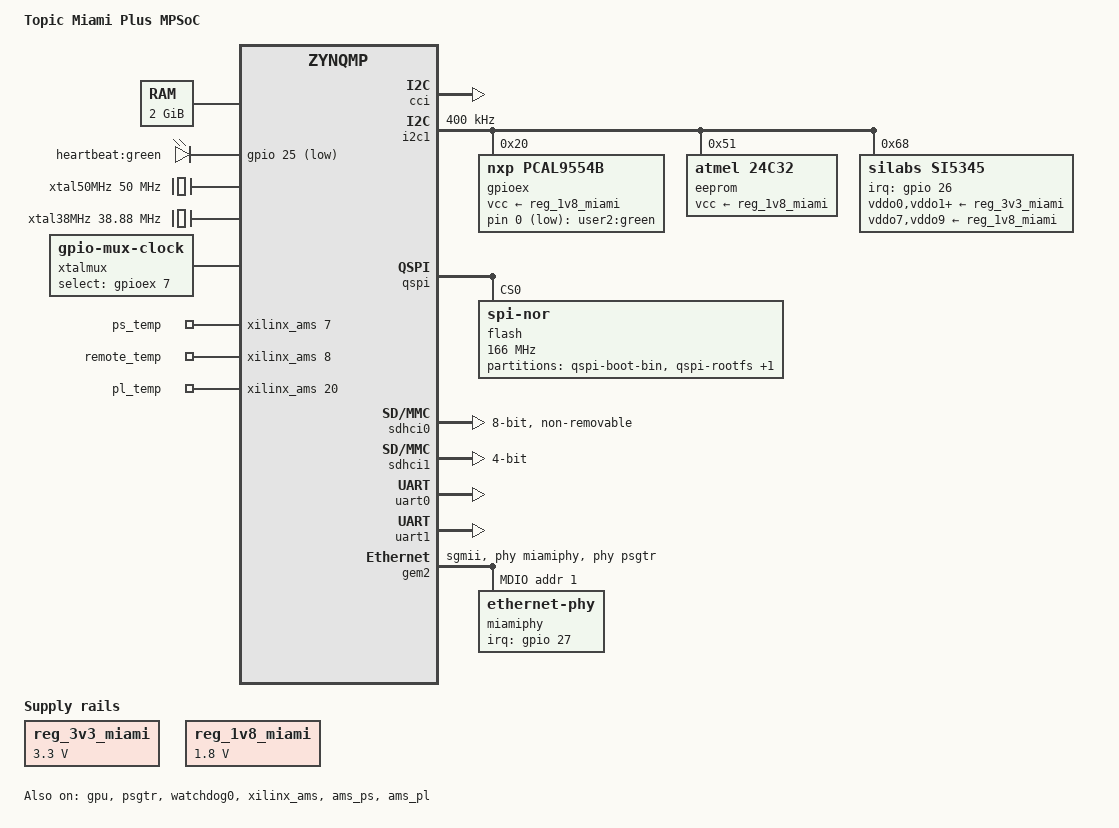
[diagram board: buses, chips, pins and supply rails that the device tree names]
/*
 * dts file for Topic Miami MPSoC
 *
 * (C) Copyright 2017, Topic Embedded Products BV
 * Mike Looijmans <mike.looijmans@topic.nl>
 *
 * This program is free software; you can redistribute it and/or
 * modify it under the terms of the GNU General Public License as
 * published by the Free Software Foundation; either version 2 of
 * the License, or (at your option) any later version.
 */

/dts-v1/;

#include "zynqmp.dtsi"
#include "zynqmp-clk-ccf.dtsi"
#include <dt-bindings/input/input.h>
#include <dt-bindings/gpio/gpio.h>
#include <dt-bindings/interrupt-controller/irq.h>
#include <dt-bindings/pinctrl/pinctrl-zynqmp.h>
#include <dt-bindings/phy/phy.h>

/ {
	model = "Topic Miami Plus MPSoC";
	compatible = "topic,miamiplusmp", "xlnx,zynqmp";

	aliases {
		ethernet0 = &gem2;
		gpio0 = &gpio;
		i2c0 = &i2c0;
		i2c1 = &i2c1;
		mmc0 = &sdhci0;
		mmc1 = &sdhci1;
		rtc0 = &rtc;
		serial0 = &uart0;
		serial1 = &uart1;
		spi0 = &qspi;
		usb0 = &usb0;
		usb1 = &usb1;
	};

	chosen {
		bootargs = "earlycon root=/dev/mmcblk1p2 rw rootfstype=ext4 rootwait";
		stdout-path = "serial0:115200n8";
	};

	memory {
		device_type = "memory";
		reg = <0x0 0x0 0x0 0x80000000>;
	};

	/* Represents the 3v3 supply on the SOM. */
	reg_3v3_miami: regulator_3v3_miami {
		compatible = "regulator-fixed";
		regulator-name = "3v3-miami";
		regulator-min-microvolt = <3300000>;
		regulator-max-microvolt = <3300000>;
	};

	/* Represents the 1v8 supply on the SOM. */
	reg_1v8_miami: regulator_1v8_miami {
		compatible = "regulator-fixed";
		regulator-name = "1v8-miami";
		regulator-min-microvolt = <1800000>;
		regulator-max-microvolt = <1800000>;
	};

	/* Heartbeat led. Use separate instance to make it probe quickly */
	leds-mio {
		compatible = "gpio-leds";
		heartbeat_led {
			label = "heartbeat:green";
			gpios = <&gpio 25 1>;
			linux,default-trigger = "heartbeat";
		};
	};

	/* LEDs connected to GPIO expanders and such */
	leds: leds {
		compatible = "gpio-leds";
		user_led_2 {
			label = "user2:green";
			gpios = <&gpioex 0 1>;
		};
	};

	/* XTAL for Si5345 */
	xtal50MHz: xtal_50_clock {
		compatible = "fixed-clock";
		#clock-cells = <0x0>;
		clock-frequency = <50000000>;
	};
	xtal38MHz: xtal_38_clock {
		compatible = "fixed-clock";
		#clock-cells = <0x0>;
		clock-frequency = <38880000>;
	};
	xtalmux: xtal_mux {
		compatible = "gpio-mux-clock";
		clocks = <&xtal38MHz>, <&xtal50MHz>;
		#clock-cells = <0>;
		select-gpios = <&gpioex 7 GPIO_ACTIVE_HIGH>;
		input;
	};

	/* Make temperature readouts show up in hwmon applications */
	iio-hwmon-ams-temp {
		compatible = "iio-hwmon";
		io-channels = <&xilinx_ams 7>, <&xilinx_ams 8>, <&xilinx_ams 20>;
		io-channel-names = "ps_temp", "remote_temp", "pl_temp";
	};
};

&usb0 {
        /* Xilinx defines "reset-gpio" which by default controls the MODE pins. Only some Xilinx boards have that */
        /delete-property/ reset-gpio;
};


&gpio {
	status = "okay";
};

&gpu {
	status = "okay";
};

&cci {
	status = "okay";
};

&i2c1 {
	status = "okay";
	clock-frequency = <400000>;

	/* GPIO expander */
	gpioex: pcal9554@20 {
		compatible = "nxp,pcal9554b";
		vcc-supply = <&reg_1v8_miami>;
		reg = <0x20>;
		gpio-line-names = "USERLED", "PULLUP", "ETH_RESET_N", "USB0_RESET_N", "USB1_RESET_N", "CLK_SW_CNTRL", "ETH_SWITCH_CTRL", "XTAL_CFG";
		gpio-controller;
		#gpio-cells = <2>;
		eth-clk-sw-ctrl {
			gpio-hog;
			gpios = <5 0>;
			input; /* Hardware pull-up or pull-down sets default */
			line-name = "eth_clk_sw_ctrl";
		};
	};

	/* EEPROM */
	eeprom: eeprom@51 {
		compatible = "atmel,24c32";
		reg = <0x51>;
		pagesize = <32>;
		vcc-supply = <&reg_1v8_miami>;
		#address-cells = <1>;
		#size-cells = <1>;
		gem2_mac: mac@f30 {
			reg = <0xf30 6>;
		};
		gem0_mac: mac@f38 {
			reg = <0xf38 6>;
		};
	};

	/* Programmable clock (for logic) */
	si5345: si5345@68 {
		reg = <0x68>;
		compatible = "silabs,si5345";
		#clock-cells = <2>;
		#address-cells = <1>;
		#size-cells = <0>;
		clocks = <&xtalmux>;
		clock-names = "xtal";
		silabs,xaxb-ext-clk; /* Input is a clock chip, not Xtal */
		/* Interrupt connected to MIO26 (not actually used) */
		interrupt-parent = <&gpio>;
		interrupts = <26 IRQ_TYPE_LEVEL_LOW>;

		/*
		 * Not setting silabs,pll-m-num and silabs,pll-m-den, this will
		 * make the driver default to 14GHz, regardless of the input
		 * frequency (which may be 50MHz or 38.88MHz).
		 */

		/*
		 * Clock tree for the ttpzu9 and tdpzu9, with one PLL running at
		 * 1000MHz we can create 25, 100, 125 and 250 using even
		 * dividers.
		 */
		assigned-clocks = <&si5345 1 0>,
				  <&si5345 1 1>,
				  <&si5345 1 2>,
				  <&si5345 1 3>,
				  <&si5345 1 4>,
				  <&si5345 0 0>,
				  <&si5345 0 1>,
				  <&si5345 0 2>,
				  <&si5345 0 3>,
				  <&si5345 0 4>,
				  <&si5345 0 5>,
				  <&si5345 0 6>,
				  <&si5345 0 7>,
				  <&si5345 0 8>,
				  <&si5345 0 9>;
		assigned-clock-parents = <0>, <0>, <0>, <0>, <0>,
					<&si5345 1 0>, /* out 0 */
					<&si5345 1 0>,
					<&si5345 1 0>,
					<&si5345 1 0>,
					<&si5345 1 0>,
					<&si5345 1 0>, /* out 5 */
					<&si5345 1 0>,
					<&si5345 1 0>,
					<&si5345 1 0>,
					<&si5345 1 0>;
		assigned-clock-rates =	<1000000000>, /* synth 0 */
					<0>,
					<0>,
					<0>,
					<0>,
					<100000000>, /* out 0 */
					<100000000>,
					<125000000>,
					<100000000>,
					<100000000>,
					< 25000000>, /* out 5 (ethernet) */
					<100000000>,
					<250000000>,
					<100000000>, /* out 8 (PS refclk3) */
					<100000000>;

		/* Supply voltages for the output drivers */
		vddo0-supply = <&reg_3v3_miami>;
		vddo1-supply = <&reg_3v3_miami>;
		vddo2-supply = <&reg_3v3_miami>;
		vddo3-supply = <&reg_3v3_miami>;
		vddo4-supply = <&reg_3v3_miami>;
		vddo5-supply = <&reg_3v3_miami>;
		vddo6-supply = <&reg_3v3_miami>;
		vddo7-supply = <&reg_1v8_miami>;
		vddo8-supply = <&reg_3v3_miami>;
		vddo9-supply = <&reg_1v8_miami>;

		out@0 {
			/* MGT_D_REFCLK_0 */
			reg = <0>;
			silabs,format = <1>; /* LVDS 3v3 */
			silabs,common-mode = <3>;
			silabs,amplitude = <3>;
		};
		out@1 {
			/* MGT_D_REFCLK_2 */
			reg = <1>;
			silabs,format = <1>; /* LVDS 3v3 */
			silabs,common-mode = <3>;
			silabs,amplitude = <3>;
		};
		out@2 {
			/* PS_MGT_D_REFCLK_1 */
			reg = <2>;
			silabs,format = <1>; /* LVDS 3v3 */
			silabs,common-mode = <3>;
			silabs,amplitude = <3>;
			always-on;
		};
		out@3 {
			/* PS_MGT_D_REFCLK_0 */
			reg = <3>;
			silabs,format = <1>; /* LVDS 3v3 */
			silabs,common-mode = <3>;
			silabs,amplitude = <3>;
			always-on;
		};
		out@4 {
			/* MGT_D_REFCLK_6 */
			reg = <4>;
			silabs,format = <1>; /* LVDS 3v3 */
			silabs,common-mode = <3>;
			silabs,amplitude = <3>;
		};
		out@5 {
			/* Ethernet PHY clock */
			reg = <5>;
			silabs,format = <4>; /* CMOS */
			silabs,common-mode = <3>; /* TODO: Correct values... */
			silabs,amplitude = <3>; /* TODO: Correct values... */
			always-on;
		};
		out@6 {
			/* MGT_D_REFCLK_4 */
			reg = <6>;
			silabs,format = <1>; /* LVDS 3v3 */
			silabs,common-mode = <3>;
			silabs,amplitude = <3>;
		};

		out@7 {
			/* CLOCK_FPGA0 - 250MHz for TSU */
			reg = <7>;
			silabs,format = <1>; /* LVDS 1v8 */
			silabs,common-mode = <13>;
			silabs,amplitude = <3>;
		};

		out@8 {
			/* PS_MGT_D_REFCLK_3 */
			reg = <8>;
			silabs,format = <1>; /* LVDS 3v3 */
			silabs,common-mode = <3>;
			silabs,amplitude = <3>;
			always-on;
		};

		out@9 {
			/* CLOCK_FPGA1 */
			reg = <9>;
			silabs,format = <1>; /* LVDS 1v8 */
			silabs,common-mode = <13>;
			silabs,amplitude = <3>;
		};
	};
};

&qspi {
	status = "okay";
	is-dual = <1>;
	flash@0 {
		compatible = "jedec,spi-nor";
		#address-cells = <1>;
		#size-cells = <1>;
		reg = <0x0>;
		spi-tx-bus-width = <1>;
		spi-rx-bus-width = <4>;
		spi-max-frequency = <166000000>;
		is-dual = <1>;
		partition@qspi-boot-bin {
			label = "qspi-boot-bin";
			reg = <0x00000 0x180000>;
		};
		partition@qspi-rootfs {
			label = "qspi-rootfs";
			reg = <0x180000 0>;
		};
		/* Everything */
		partition@qspi-all {
			label = "qspi-all";
			reg = <0x0 0>;
		};
	};
};

/* eMMC device */
&sdhci0 {
	status = "okay";
	non-removable;
	disable-wp; /* We don't have a write-protect detection */
	bus-width = <8>;
	xlnx,mio_bank = <0>;
};

/* SD1 */
&sdhci1 {
	status = "okay";
	bus-width = <4>;
	xlnx,mio_bank = <1>;
	disable-wp; /* We don't have a write-protect detection */
};

&psgtr {
	status = "okay";
	clock-names = "ref0", "ref1", "ref3";
	clocks = <&si5345 0 3>, <&si5345 0 2>, <&si5345 0 8>;
};

&uart0 {
	status = "okay";
};

&uart1 {
	status = "okay";
};

&watchdog0 {
	status = "okay";
	reset-on-timeout;
	timeout-sec = <5>;
};

&xilinx_ams {
	status = "okay";
};

&ams_ps {
	status = "okay";
};

&ams_pl {
	status = "okay";
};

&gem2 {
	status = "okay";
	phy-handle = <&miamiphy>;
	phy-mode = "sgmii";
	nvmem-cells = <&gem2_mac>;
	nvmem-cell-names = "mac-address";
	phys = <&psgtr 2 PHY_TYPE_SGMII 2 1>; /* Lane 2 refclk 1 */
	/* Need 25MHz and 125MHz clocks (Xilinx drivers lack proper clk support) */
	assigned-clocks      = <&si5345 0 5>, <&si5345 0 2>, <&si5345 0 7>;
	assigned-clock-rates =    <25000000>,   <125000000>,   <250000000>;

	/* Change TSU clock to external input (copied from zynqmp-clk-ccf.dtsi) */
	clocks = <&zynqmp_clk LPD_LSBUS>, <&zynqmp_clk GEM2_REF>, <&zynqmp_clk GEM2_TX>,
		 <&zynqmp_clk GEM2_RX>, <&si5345 0 7>;
	clock-names = "pclk", "hclk", "tx_clk", "rx_clk", "tsu_clk";

	mdio {
		#address-cells = <1>;
		#size-cells = <0>;
		reset-gpios = <&gpioex 2 1>; /* Active low, on port 2 of GPIO expander */
		/* Datasheet: 10 ms reset pulse, wait 50 ms for register access */
		reset-delay-us = <10000>;
		reset-post-delay-us = <50000>;

		miamiphy: ethernet-phy@1 {
			/* PHY on the board */
			device_type = "ethernet-phy";
			reg = <0x1>;
			interrupt-parent = <&gpio>;
			interrupts = <27 IRQ_TYPE_LEVEL_LOW>;
			marvell,reg-init =
				/* Output 125MHz sync-E clock */
				<2 0x10 0xf3fc 0x1c01>, /* Reg 2,16 enable RCLK */
				/* LED[0:2] irq (hi-z), MODE4 */
				<3 0x10 0 0x061f>,
				/* Adjust LED drive to 50% */
				<3 0x11 0 0x4400>;
		};
	};
};
